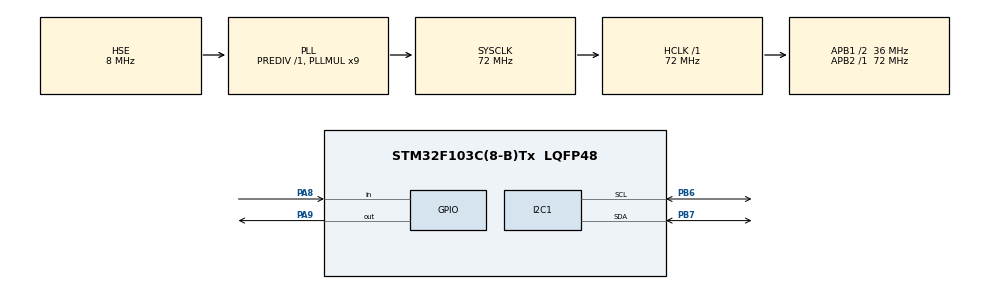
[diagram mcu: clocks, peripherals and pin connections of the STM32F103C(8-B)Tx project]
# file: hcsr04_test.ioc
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I2C1.I2C_Mode=I2C_Fast
Mcu.Family=STM32F1
Mcu.Name=STM32F103C(8-B)Tx
Mcu.Package=LQFP48
NVIC.PriorityGroup=NVIC_PRIORITYGROUP_4
PA8.Signal=GPIO_Input
PA9.Signal=GPIO_Output
PB6.Mode=I2C
PB6.Signal=I2C1_SCL
PB7.Mode=I2C
PB7.Signal=I2C1_SDA
PD0-OSC_IN.Mode=HSE-External-Oscillator
PD0-OSC_IN.Signal=RCC_OSC_IN
PD1-OSC_OUT.Mode=HSE-External-Oscillator
PD1-OSC_OUT.Signal=RCC_OSC_OUT
ProjectManager.HeapSize=0x200
ProjectManager.StackSize=0x400
ProjectManager.TargetToolchain=CMake
RCC.AHBFreq_Value=72000000
RCC.APB1CLKDivider=RCC_HCLK_DIV2
RCC.APB1Freq_Value=36000000
RCC.APB1TimFreq_Value=72000000
RCC.APB2Freq_Value=72000000
RCC.APB2TimFreq_Value=72000000
RCC.HCLKFreq_Value=72000000
RCC.PLLMUL=RCC_PLL_MUL9
RCC.PLLSourceVirtual=RCC_PLLSOURCE_HSE
RCC.SYSCLKFreq_VALUE=72000000
RCC.SYSCLKSource=RCC_SYSCLKSOURCE_PLLCLK
RCC.USBFreq_Value=72000000
VP_SYS_VS_ND.Mode=No_Debug
VP_TIM1_VS_ClockSourceINT.Mode=Internal
board=custom

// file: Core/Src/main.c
/* USER CODE BEGIN Header */
/**
 ******************************************************************************
 * @file           : main.c
 * @brief          : Main program body
 ******************************************************************************
 * @attention
 *
 * Copyright (c) 2026 STMicroelectronics.
 * All rights reserved.
 *
 * This software is licensed under terms that can be found in the LICENSE file
 * in the root directory of this software component.
 * If no LICENSE file comes with this software, it is provided AS-IS.
 *
 ******************************************************************************
 */
/* USER CODE END Header */
#include "main.h"

#include "gpio.h"
#include "i2c.h"
#include "tim.h"

/* USER CODE BEGIN Includes */
#include <stdio.h>

#include "fonts.h"
#include "ssd1306.h"
/* USER CODE END Includes */

/* USER CODE BEGIN PV */
#define TRIG_PIN GPIO_PIN_9
#define TRIG_PORT GPIOA
#define ECHO_PIN GPIO_PIN_8
#define ECHO_PORT GPIOA

uint32_t pMillis;
uint32_t Value1 = 0;
uint32_t Value2 = 0;
uint16_t Distance = 0;
char buf[20];
/* USER CODE END PV */

void SystemClock_Config(void);

int main(void) {

  /* MCU Configuration--------------------------------------------------------*/

  /* Reset of all peripherals, Initializes the Flash interface and the Systick.
   */
  HAL_Init();

  /* Configure the system clock */
  SystemClock_Config();

  /* Initialize all configured peripherals */
  MX_GPIO_Init();
  MX_I2C1_Init();
  MX_TIM1_Init();
  /* USER CODE BEGIN 2 */
  HAL_TIM_Base_Start(&htim1);
  HAL_GPIO_WritePin(TRIG_PORT, TRIG_PIN, GPIO_PIN_RESET);
  SSD1306_Init();
  SSD1306_Fill(SSD1306_COLOR_BLACK);
  SSD1306_GotoXY(0, 0);
  SSD1306_Puts("HC-SR04 TEST", &Font_7x10, 1);
  SSD1306_UpdateScreen();
  HAL_Delay(1000);
  /* USER CODE END 2 */

  /* Infinite loop */
  while (1) {

    /* USER CODE BEGIN 3 */

    /* Trigger pulse */
    HAL_GPIO_WritePin(TRIG_PORT, TRIG_PIN, GPIO_PIN_SET);
    __HAL_TIM_SET_COUNTER(&htim1, 0);
    while (__HAL_TIM_GET_COUNTER(&htim1) < 10);
    HAL_GPIO_WritePin(TRIG_PORT, TRIG_PIN, GPIO_PIN_RESET);

    /* Wait for ECHO high (10ms timeout) */
    pMillis = HAL_GetTick();
    while (!HAL_GPIO_ReadPin(ECHO_PORT, ECHO_PIN) &&
           (pMillis + 10 > HAL_GetTick()));
    Value1 = __HAL_TIM_GET_COUNTER(&htim1);

    /* Wait for ECHO low (50ms timeout) */
    pMillis = HAL_GetTick();
    while (HAL_GPIO_ReadPin(ECHO_PORT, ECHO_PIN) &&
           (pMillis + 50 > HAL_GetTick()));
    Value2 = __HAL_TIM_GET_COUNTER(&htim1);

    uint32_t elapsed;
    if (Value2 >= Value1)
      elapsed = Value2 - Value1;
    else
      elapsed = (65535 - Value1) + Value2;

    Distance = elapsed * 0.034f / 2;

    /* Display */
    SSD1306_Fill(SSD1306_COLOR_BLACK);

    SSD1306_GotoXY(0, 0);
    SSD1306_Puts("HC-SR04 TEST", &Font_7x10, 1);

    snprintf(buf, sizeof(buf), "DIST: %u cm", Distance);
    SSD1306_GotoXY(0, 14);
    SSD1306_Puts(buf, &Font_7x10, 1);

    snprintf(buf, sizeof(buf), "V1:%lu", Value1);
    SSD1306_GotoXY(0, 30);
    SSD1306_Puts(buf, &Font_7x10, 1);

    snprintf(buf, sizeof(buf), "V2:%lu", Value2);
    SSD1306_GotoXY(0, 44);
    SSD1306_Puts(buf, &Font_7x10, 1);

    SSD1306_UpdateScreen();
    HAL_Delay(100);
  }
  /* USER CODE END 3 */
}

void SystemClock_Config(void) {
  RCC_OscInitTypeDef RCC_OscInitStruct = {0};
  RCC_ClkInitTypeDef RCC_ClkInitStruct = {0};

  /** Initializes the RCC Oscillators according to the specified parameters
   * in the RCC_OscInitTypeDef structure.
   */
  RCC_OscInitStruct.OscillatorType = RCC_OSCILLATORTYPE_HSE;
  RCC_OscInitStruct.HSEState = RCC_HSE_ON;
  RCC_OscInitStruct.HSEPredivValue = RCC_HSE_PREDIV_DIV1;
  RCC_OscInitStruct.HSIState = RCC_HSI_ON;
  RCC_OscInitStruct.PLL.PLLState = RCC_PLL_ON;
  RCC_OscInitStruct.PLL.PLLSource = RCC_PLLSOURCE_HSE;
  RCC_OscInitStruct.PLL.PLLMUL = RCC_PLL_MUL9;
  if (HAL_RCC_OscConfig(&RCC_OscInitStruct) != HAL_OK) {
    Error_Handler();
  }

  /** Initializes the CPU, AHB and APB buses clocks
   */
  RCC_ClkInitStruct.ClockType = RCC_CLOCKTYPE_HCLK | RCC_CLOCKTYPE_SYSCLK |
                                RCC_CLOCKTYPE_PCLK1 | RCC_CLOCKTYPE_PCLK2;
  RCC_ClkInitStruct.SYSCLKSource = RCC_SYSCLKSOURCE_PLLCLK;
  RCC_ClkInitStruct.AHBCLKDivider = RCC_SYSCLK_DIV1;
  RCC_ClkInitStruct.APB1CLKDivider = RCC_HCLK_DIV2;
  RCC_ClkInitStruct.APB2CLKDivider = RCC_HCLK_DIV1;

  if (HAL_RCC_ClockConfig(&RCC_ClkInitStruct, FLASH_LATENCY_2) != HAL_OK) {
    Error_Handler();
  }
}

void Error_Handler(void) {
  __disable_irq();
  while (1) {
  }
}
#ifdef USE_FULL_ASSERT
/**
 * @brief  Reports the name of the source file and the source line number
 *         where the assert_param error has occurred.
 * @param  file: pointer to the source file name
 * @param  line: assert_param error line source number
 * @retval None
 */
void assert_failed(uint8_t* file, uint32_t line) {
  /* USER CODE BEGIN 6 */
  /* User can add his own implementation to report the file name and line
     number, ex: printf("Wrong parameters value: file %s on line %d\r\n", file,
     line) */
  /* USER CODE END 6 */
}
#endif /* USE_FULL_ASSERT */
